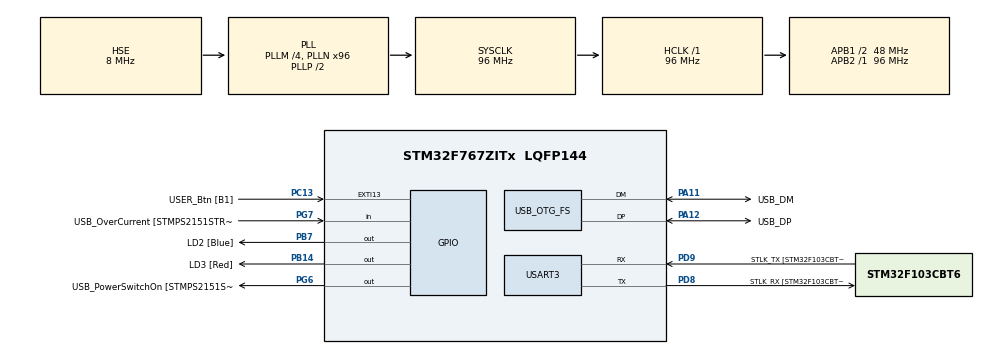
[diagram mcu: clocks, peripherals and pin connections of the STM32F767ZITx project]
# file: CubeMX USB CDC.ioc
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Mcu.Family=STM32F7
Mcu.Name=STM32F767ZITx
Mcu.Package=LQFP144
NVIC.OTG_FS_IRQn=true\:0\:0\:false\:false\:true\:true\:true\:true
NVIC.PriorityGroup=NVIC_PRIORITYGROUP_4
PA1.GPIO_Label=RMII_REF_CLK [LAN8742A-CZ-TR_REFCLK0]
PA1.Signal=ETH_REF_CLK
PA10.GPIO_Label=USB_ID
PA10.Signal=USB_OTG_FS_ID
PA11.GPIO_Label=USB_DM
PA11.Mode=Device_Only
PA11.Signal=USB_OTG_FS_DM
PA12.GPIO_Label=USB_DP
PA12.Mode=Device_Only
PA12.Signal=USB_OTG_FS_DP
PA13.GPIO_Label=TMS
PA13.Mode=Serial_Wire
PA13.Signal=SYS_JTMS-SWDIO
PA14.GPIO_Label=TCK
PA14.Mode=Serial_Wire
PA14.Signal=SYS_JTCK-SWCLK
PA2.GPIO_Label=RMII_MDIO [LAN8742A-CZ-TR_MDIO]
PA2.Signal=ETH_MDIO
PA7.GPIO_Label=RMII_CRS_DV [LAN8742A-CZ-TR_CRS_DV]
PA7.Signal=ETH_CRS_DV
PA8.GPIO_Label=USB_SOF [TP1]
PA8.Signal=USB_OTG_FS_SOF
PA9.GPIO_Label=USB_VBUS
PA9.Signal=USB_OTG_FS_VBUS
PB13.GPIO_Label=RMII_TXD1 [LAN8742A-CZ-TR_TXD1]
PB13.Signal=ETH_TXD1
PB14.GPIO_Label=LD3 [Red]
PB14.Signal=GPIO_Output
PB3.GPIO_Label=SW0
PB3.Signal=SYS_JTDO-SWO
PB7.GPIO_Label=LD2 [Blue]
PB7.Signal=GPIO_Output
PC1.GPIO_Label=RMII_MDC [LAN8742A-CZ-TR_MDC]
PC1.Signal=ETH_MDC
PC13.GPIO_Label=USER_Btn [B1]
PC13.Signal=GPXTI13
PC14/OSC32_IN.Mode=LSE-External-Oscillator
PC14/OSC32_IN.Signal=RCC_OSC32_IN
PC15/OSC32_OUT.Mode=LSE-External-Oscillator
PC15/OSC32_OUT.Signal=RCC_OSC32_OUT
PC4.GPIO_Label=RMII_RXD0 [LAN8742A-CZ-TR_RXD0]
PC4.Signal=ETH_RXD0
PC5.GPIO_Label=RMII_RXD1 [LAN8742A-CZ-TR_RXD1]
PC5.Signal=ETH_RXD1
PD8.GPIO_Label=STLK_RX [STM32F103CBT6_PA3]
PD8.Mode=Asynchronous
PD8.Signal=USART3_TX
PD9.GPIO_Label=STLK_TX [STM32F103CBT6_PA2]
PD9.Mode=Asynchronous
PD9.Signal=USART3_RX
PG11.GPIO_Label=RMII_TX_EN [LAN8742A-CZ-TR_TXEN]
PG11.Signal=ETH_TX_EN
PG13.GPIO_Label=RMII_TXD0 [LAN8742A-CZ-TR_TXD0]
PG13.Signal=ETH_TXD0
PG6.GPIO_Label=USB_PowerSwitchOn [STMPS2151STR_EN]
PG6.Signal=GPIO_Output
PG7.GPIO_Label=USB_OverCurrent [STMPS2151STR_FAULT]
PG7.Signal=GPIO_Input
PH0/OSC_IN.GPIO_Label=MCO [STM32F103CBT6_PA8]
PH0/OSC_IN.Mode=HSE-External-Clock-Source
PH0/OSC_IN.Signal=RCC_OSC_IN
PH1/OSC_OUT.Mode=HSE-External-Clock-Source
PH1/OSC_OUT.Signal=RCC_OSC_OUT
ProjectManager.HeapSize=0x8000
ProjectManager.StackSize=0x8000
ProjectManager.TargetToolchain=STM32CubeIDE
RCC.48MHZClocksFreq_Value=24000000
RCC.AHBFreq_Value=96000000
RCC.APB1CLKDivider=RCC_HCLK_DIV2
RCC.APB1Freq_Value=48000000
RCC.APB1TimFreq_Value=96000000
RCC.APB2Freq_Value=96000000
RCC.APB2TimFreq_Value=96000000
RCC.CortexFreq_Value=96000000
RCC.HCLKFreq_Value=96000000
RCC.HSE_VALUE=8000000
RCC.HSI_VALUE=16000000
RCC.PLLM=4
RCC.PLLMUL=RCC_PLL_MUL9
RCC.PLLN=96
RCC.PLLQ=4
RCC.PRESCALERUSB=RCC_USBCLKSOURCE_PLL_DIV1_5
RCC.SYSCLKFreq_VALUE=96000000
RCC.SYSCLKSource=RCC_SYSCLKSOURCE_PLLCLK
RCC.SYSCLKSourceVirtual=RCC_SYSCLKSOURCE_PLLCLK
RCC.USBFreq_Value=48000000
RCC.VCOOutputFreq_Value=192000000
USART3.VirtualMode-Asynchronous=VM_ASYNC
USB_DEVICE.CLASS_NAME_FS=CDC
USB_DEVICE.PID_CDC_FS=0xE5B0
USB_DEVICE.PRODUCT_STRING_CDC_FS=STM32F767 Nucleo
USB_DEVICE.USBD_LPM_ENABLED-CDC_FS=0
USB_DEVICE.VID-CDC_FS=0x483
USB_DEVICE.VirtualMode-CDC_FS=Cdc
USB_DEVICE.VirtualModeFS=Cdc_FS
USB_OTG_FS.VirtualMode=Device_Only
VP_USB_DEVICE_VS_USB_DEVICE_CDC_FS.Mode=CDC_FS
board=NUCLEO-F767ZI

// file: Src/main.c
/* USER CODE BEGIN Header */
/**
  ******************************************************************************
  * @file           : main.c
  * @brief          : Main program body
  ******************************************************************************
  * This notice applies to any and all portions of this file
  * that are not between comment pairs USER CODE BEGIN and
  * USER CODE END. Other portions of this file, whether
  * inserted by the user or by software development tools
  * are owned by their respective copyright owners.
  *
  * Copyright (c) 2018 STMicroelectronics International N.V.
  * All rights reserved.
  *
  * Redistribution and use in source and binary forms, with or without
  * modification, are permitted, provided that the following conditions are met:
  *
  * 1. Redistribution of source code must retain the above copyright notice,
  *    this list of conditions and the following disclaimer.
  * 2. Redistributions in binary form must reproduce the above copyright notice,
  *    this list of conditions and the following disclaimer in the documentation
  *    and/or other materials provided with the distribution.
  * 3. Neither the name of STMicroelectronics nor the names of other
  *    contributors to this software may be used to endorse or promote products
  *    derived from this software without specific written permission.
  * 4. This software, including modifications and/or derivative works of this
  *    software, must execute solely and exclusively on microcontroller or
  *    microprocessor devices manufactured by or for STMicroelectronics.
  * 5. Redistribution and use of this software other than as permitted under
  *    this license is void and will automatically terminate your rights under
  *    this license.
  *
  * THIS SOFTWARE IS PROVIDED BY STMICROELECTRONICS AND CONTRIBUTORS "AS IS"
  * AND ANY EXPRESS, IMPLIED OR STATUTORY WARRANTIES, INCLUDING, BUT NOT
  * LIMITED TO, THE IMPLIED WARRANTIES OF MERCHANTABILITY, FITNESS FOR A
  * PARTICULAR PURPOSE AND NON-INFRINGEMENT OF THIRD PARTY INTELLECTUAL PROPERTY
  * RIGHTS ARE DISCLAIMED TO THE FULLEST EXTENT PERMITTED BY LAW. IN NO EVENT
  * SHALL STMICROELECTRONICS OR CONTRIBUTORS BE LIABLE FOR ANY DIRECT, INDIRECT,
  * INCIDENTAL, SPECIAL, EXEMPLARY, OR CONSEQUENTIAL DAMAGES (INCLUDING, BUT NOT
  * LIMITED TO, PROCUREMENT OF SUBSTITUTE GOODS OR SERVICES; LOSS OF USE, DATA,
  * OR PROFITS; OR BUSINESS INTERRUPTION) HOWEVER CAUSED AND ON ANY THEORY OF
  * LIABILITY, WHETHER IN CONTRACT, STRICT LIABILITY, OR TORT (INCLUDING
  * NEGLIGENCE OR OTHERWISE) ARISING IN ANY WAY OUT OF THE USE OF THIS SOFTWARE,
  * EVEN IF ADVISED OF THE POSSIBILITY OF SUCH DAMAGE.
  *
  ******************************************************************************
  */
/* USER CODE END Header */

#include "main.h"
#include "usart.h"
#include "usb_device.h"
#include "gpio.h"

/* USER CODE BEGIN Includes */

#include "string.h"
#include "stm32f7xx_nucleo_144.h"
#include "usbd_cdc_if.h"

/* USER CODE END Includes */

/* USER CODE BEGIN PV */

#define TxBufferLength 2048
char TxBuffer[TxBufferLength];

/* USER CODE END PV */

void SystemClock_Config(void);

int main(void)
{
  /* USER CODE BEGIN 1 */

  uint32_t NumPacketsSent = 0;
  char S[200];

  /* USER CODE END 1 */

  /* MCU Configuration--------------------------------------------------------*/

  /* Reset of all peripherals, Initializes the Flash interface and the Systick. */
  HAL_Init();

  /* Configure the system clock */
  SystemClock_Config();

  /* Initialize all configured peripherals */
  MX_GPIO_Init();
  MX_USB_DEVICE_Init();
  MX_USART3_UART_Init();
  /* USER CODE BEGIN 2 */

  BSP_PB_Init(BUTTON_USER, BUTTON_MODE_GPIO);
  BSP_LED_Init(LED_GREEN);
  for (int CharIndex = 0; CharIndex < TxBufferLength; ++ CharIndex)
    TxBuffer[CharIndex] = 64 + (CharIndex % 32);

  /* USER CODE END 2 */

  /* Infinite loop */
  /* USER CODE BEGIN WHILE */
  while (1)
  {
    if (BSP_PB_GetState(BUTTON_USER))
    {
      if (CDC_Transmit_FS((void *)TxBuffer, TxBufferLength) != USBD_BUSY)
      {
        ++NumPacketsSent;
        BSP_LED_Toggle(LED_GREEN);

        if (NumPacketsSent % 1000 == 0)
        {
          sprintf(S, "Num packets: %lu\r\n", NumPacketsSent);
          HAL_UART_Transmit(&huart3, (uint8_t *)S, strlen(S), 0xFFFF);
        }
      }
    }
    /* USER CODE END WHILE */

  }
}

void SystemClock_Config(void)
{
  RCC_OscInitTypeDef RCC_OscInitStruct = {0};
  RCC_ClkInitTypeDef RCC_ClkInitStruct = {0};
  RCC_PeriphCLKInitTypeDef PeriphClkInitStruct = {0};

  /**Configure LSE Drive Capability
  */
  HAL_PWR_EnableBkUpAccess();
  /**Configure the main internal regulator output voltage
  */
  __HAL_RCC_PWR_CLK_ENABLE();
  __HAL_PWR_VOLTAGESCALING_CONFIG(PWR_REGULATOR_VOLTAGE_SCALE3);
  /**Initializes the CPU, AHB and APB busses clocks
  */
  RCC_OscInitStruct.OscillatorType = RCC_OSCILLATORTYPE_HSE;
  RCC_OscInitStruct.HSEState = RCC_HSE_BYPASS;
  RCC_OscInitStruct.PLL.PLLState = RCC_PLL_ON;
  RCC_OscInitStruct.PLL.PLLSource = RCC_PLLSOURCE_HSE;
  RCC_OscInitStruct.PLL.PLLM = 4;
  RCC_OscInitStruct.PLL.PLLN = 96;
  RCC_OscInitStruct.PLL.PLLP = RCC_PLLP_DIV2;
  RCC_OscInitStruct.PLL.PLLQ = 4;
  if (HAL_RCC_OscConfig(&RCC_OscInitStruct) != HAL_OK)
  {
    Error_Handler();
  }
  /**Activate the Over-Drive mode
  */
  if (HAL_PWREx_EnableOverDrive() != HAL_OK)
  {
    Error_Handler();
  }
  /**Initializes the CPU, AHB and APB busses clocks
  */
  RCC_ClkInitStruct.ClockType = RCC_CLOCKTYPE_HCLK|RCC_CLOCKTYPE_SYSCLK
                              |RCC_CLOCKTYPE_PCLK1|RCC_CLOCKTYPE_PCLK2;
  RCC_ClkInitStruct.SYSCLKSource = RCC_SYSCLKSOURCE_PLLCLK;
  RCC_ClkInitStruct.AHBCLKDivider = RCC_SYSCLK_DIV1;
  RCC_ClkInitStruct.APB1CLKDivider = RCC_HCLK_DIV2;
  RCC_ClkInitStruct.APB2CLKDivider = RCC_HCLK_DIV1;

  if (HAL_RCC_ClockConfig(&RCC_ClkInitStruct, FLASH_LATENCY_3) != HAL_OK)
  {
    Error_Handler();
  }
  PeriphClkInitStruct.PeriphClockSelection = RCC_PERIPHCLK_USART3|RCC_PERIPHCLK_CLK48;
  PeriphClkInitStruct.Usart3ClockSelection = RCC_USART3CLKSOURCE_PCLK1;
  PeriphClkInitStruct.Clk48ClockSelection = RCC_CLK48SOURCE_PLL;
  if (HAL_RCCEx_PeriphCLKConfig(&PeriphClkInitStruct) != HAL_OK)
  {
    Error_Handler();
  }
}

void Error_Handler(void)
{
  while(1)
  {
  }
}

/************************ (C) COPYRIGHT STMicroelectronics *****END OF FILE****/
